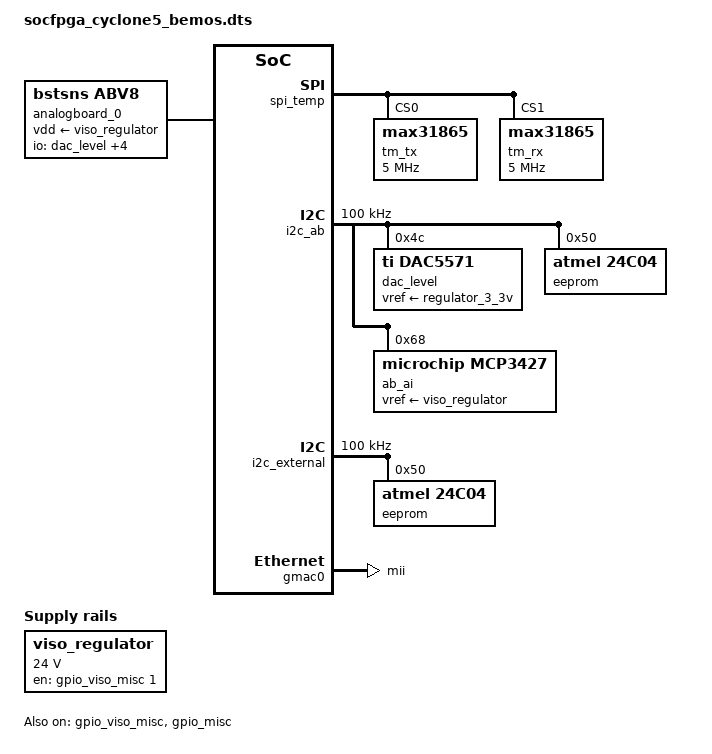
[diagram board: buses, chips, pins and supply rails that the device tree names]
#include <dt-bindings/gpio/gpio.h>
#include "socfpga_cyclone5_us02kit.dts"

/ {
	aliases {
		i2c0 = &i2c0;
		i2c1 = &i2c_ab;
		i2c2 = &i2c_external;
	};

	soc {
		clocks {
			bone_20: bone_20 {
				compatible = "fixed-clock";
				#clock-cells = <0>;
				clock-frequency = <20000000>;
			};

			bone_50: bone_50 {
				compatible = "fixed-clock";
				#clock-cells = <0>;
				clock-frequency = <50000000>;
			};
		};
		
		spi_temp: spi@ff201060 {
			compatible = "altr,spi-15.1", "altr,spi-1.0";
			reg = <0xff201060 0x20>;
			interrupt-parent = <&intc>;
			interrupts = <0 53 4>;
			clocks = <&bone_20>;
			#address-cells = <1>;
			#size-cells = <0>;
			bus-num = <0>;
			num-chipselect = <2>;
			status = "okay";

			tm_tx: max31865@0 {
				compatible = "max31865";
				reg = <0>;	/* chip select */
				spi-max-frequency = <5000000>;
				enable-dma = <1>;
				#io-channel-cells = <0>;
			};
			
			tm_rx: max31865@1 {
				compatible = "max31865";
				reg = <1>;	/* chip select */
				spi-max-frequency = <5000000>;
				enable-dma = <1>;
				#io-channel-cells = <0>;
			};
		};
		
		analogboard_0: bemos {
			compatible = "bstsns,abv8";

			i2c-external = <&i2c_external>;
			i2c-ab = <&i2c_ab>;
			
			vdd-supply = <&viso_regulator>;

			io-channels = <&dac_level>,
						  <&tm_tx>,
						  <&tm_rx>,
						  <&ab_ai 0>,
						  <&ab_ai 1>;

			io-channel-names = "level",
							   "tm_tx",
							   "tm_rx",
							   "ai0",
							   "ai1";
			
			interrupt-parent = <&intc>;			
			interrupts = <0 41 4>, /* connected */
						 <0 42 4>, /* ks0 */
						 <0 45 4>, /* fifo0 */
						 <0 46 4>, /* fifo1 */
						 <0 47 4>, /* fifo2 */
						 <0 48 4>, /* fifo3 */
						 <0 56 4>, /* ae_dtc */
						 <0 57 4>, /* trigger_in */
						 <0 44 4>; /* ab_pio */
		};
		
		gpio_viso_misc: gpio@ff2101c0 {
			compatible = "altr,pio-1.0";
			reg = <0xff2101c0 0x10>;
			status = "okay";

			gpio-controller;
			#gpio-cells = <2>;
			
			altr,ngpio = <3>;
			gpio-line-names = "viso_status", "viso_enable", "viso_autoreset_enable";
		};
	
		/* gpio_version: gpio@ff201000 {
			compatible = "altr,pio-1.0";
			reg = <0xff201000 0x10>;
			status = "okay";

			gpio-controller;
			#gpio-cells = <2>;
			
			altr,ngpio = <32>;
		}; */
			
		/* gpio_feature_set: gpio@ff201010 {
			compatible = "altr,pio-1.0";
			reg = <0xff201010 0x10>;
			status = "okay";

			gpio-controller;
			#gpio-cells = <2>;
			
			altr,ngpio = <32>;
		}; */
		
		gpio_misc: gpio@ff201020 {
			compatible = "altr,pio-1.0";
			reg = <0xff201020 0x10>;
			status = "okay";

			gpio-controller;
			#gpio-cells = <2>;

			altr,ngpio = <4>;
			gpio-line-names = "hard_reset", "iepe_pwr", "qspi_access", "eth_rst";
		};

		/* gpio_build_date: gpio@ff201040 {
			compatible = "altr,pio-1.0";
			reg = <0xff201040 0x10>;
			status = "okay";

			gpio-controller;
			#gpio-cells = <2>;
			
			altr,ngpio = <32>;
		}; */
		
		viso_regulator: gpio-regulator {
			compatible = "regulator-fixed";
			regulator-name = "viso";
			
			regulator-min-microvolt = <24000000>;
			regulator-max-microvolt = <24000000>;
			startup-delay-us = <100000>;
			
			gpio = <&gpio_viso_misc 1 GPIO_ACTIVE_HIGH>;
			enable-active-high;
			
			/* regulator-always-on; */
		};
		
		i2c_ab: i2c@ff2c0040 {
			compatible = "altr,softip-i2c-v1.0";
			reg = <0xff2c0040 0x40>;
			interrupt-parent = <&intc>;
			interrupts = <0 51 4>;
			clocks = <&bone_50>;
			fifo-size = <4>;
			clock-frequency = <100000>;
			#address-cells = <1>;
			#size-cells = <0>;
			
			dac_level: dac5571@4c {
				compatible = "ti,dac5571";
				reg = <0x4c>;
				vref-supply = <&regulator_3_3v>;
				#io-channel-cells = <0>;
			};
			
			eeprom@50 {
				compatible = "atmel,24c04";
				reg = <0x50>;
				pagesize = <16>;
			};
			
			ab_ai: mcp3427@68 {
				compatible = "microchip,mcp3427";
				reg = <0x68>;
				#io-channel-cells = <1>;
				vref-supply = <&viso_regulator>;
			};
		};
		
		i2c_external: i2c@ff2c0000 {
			compatible = "altr,softip-i2c-v1.0";
			reg = <0xff2c0000 0x40>;
			interrupt-parent = <&intc>;
			interrupts = <0 50 4>;
			clocks = <&bone_50>;
			fifo-size = <4>;
			clock-frequency = <100000>;
			#address-cells = <1>;
			#size-cells = <0>;

			eeprom@50 {
				compatible = "atmel,24c04";
				reg = <0x50>;
				pagesize = <16>;
			};
		};
	};
};

&i2c0 {
	lcd: lcd@28 {
		status = "disabled";
	};
};

&uart1 {
	status = "disabled";
};

&gmac0 {
	phy-mode = "mii";
	phy-addr = <0x00>;
	snps,phy-addr = <0x00>;
	rxd0-skew-ps = <0>;
	rxd1-skew-ps = <0>;
	rxd2-skew-ps = <0>;
	rxd3-skew-ps = <0>;
	txen-skew-ps = <0>;
	txc-skew-ps = <2600>;
	rxdv-skew-ps = <0>;
	rxc-skew-ps = <2000>;
	max-frame-size = <3800>;
	status = "okay";
	reset0 = <&agpio0 0 0>;
	reset1 = <&agpio0 1 0>;
};

&gmac1 {
	status = "disabled";
};

&can0 {
	status = "disabled";
};

&can1 {
	status = "disabled";
};

